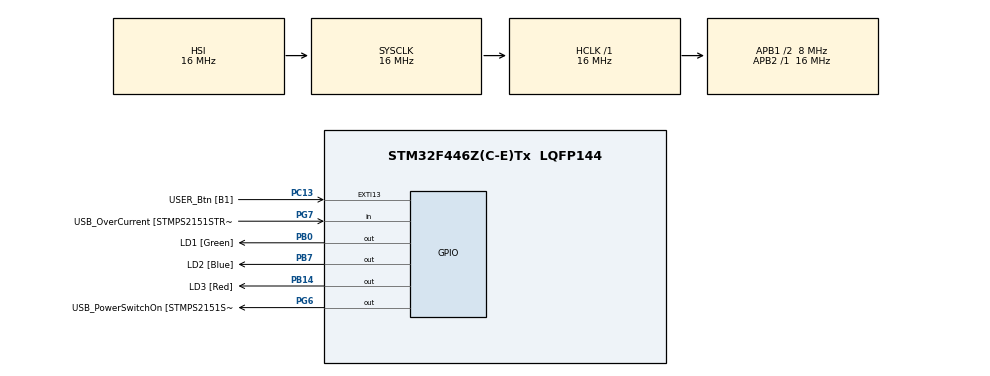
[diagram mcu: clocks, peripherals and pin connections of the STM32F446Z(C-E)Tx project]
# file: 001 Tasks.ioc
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Mcu.Family=STM32F4
Mcu.Name=STM32F446Z(C-E)Tx
Mcu.Package=LQFP144
NVIC.PriorityGroup=NVIC_PRIORITYGROUP_4
NVIC.TIM6_DAC_IRQn=true\:15\:0\:false\:false\:true\:false\:true\:true
NVIC.TimeBase=TIM6_DAC_IRQn
NVIC.TimeBaseIP=TIM6
PA10.GPIO_Label=USB_ID
PA10.Signal=USB_OTG_FS_ID
PA11.GPIO_Label=USB_DM
PA11.Signal=USB_OTG_FS_DM
PA12.GPIO_Label=USB_DP
PA12.Signal=USB_OTG_FS_DP
PA13.GPIO_Label=TMS
PA13.Signal=SYS_JTMS-SWDIO
PA14.GPIO_Label=TCK
PA14.Signal=SYS_JTCK-SWCLK
PA8.GPIO_Label=USB_SOF [TP1]
PA8.Signal=USB_OTG_FS_SOF
PA9.GPIO_Label=USB_VBUS
PA9.Signal=USB_OTG_FS_VBUS
PB0.GPIO_Label=LD1 [Green]
PB0.Signal=GPIO_Output
PB14.GPIO_Label=LD3 [Red]
PB14.Signal=GPIO_Output
PB7.GPIO_Label=LD2 [Blue]
PB7.Signal=GPIO_Output
PC13.GPIO_Label=USER_Btn [B1]
PC13.Signal=GPXTI13
PC14-OSC32_IN.Signal=RCC_OSC32_IN
PC15-OSC32_OUT.Signal=RCC_OSC32_OUT
PD8.GPIO_Label=STLK_RX [STM32F103CBT6_PA3]
PD8.Signal=USART3_TX
PD9.GPIO_Label=STLK_TX [STM32F103CBT6_PA2]
PD9.Signal=USART3_RX
PG6.GPIO_Label=USB_PowerSwitchOn [STMPS2151STR_EN]
PG6.Signal=GPIO_Output
PG7.GPIO_Label=USB_OverCurrent [STMPS2151STR_FAULT]
PG7.Signal=GPIO_Input
PH0-OSC_IN.GPIO_Label=MCO [STM32F103CBT6_PA8]
PH0-OSC_IN.Signal=RCC_OSC_IN
PH1-OSC_OUT.Signal=RCC_OSC_OUT
ProjectManager.HeapSize=0x200
ProjectManager.StackSize=0x400
ProjectManager.TargetToolchain=STM32CubeIDE
RCC.48MHZClocksFreq_Value=24000000
RCC.AHBFreq_Value=16000000
RCC.APB1CLKDivider=RCC_HCLK_DIV2
RCC.APB1Freq_Value=8000000
RCC.APB1TimFreq_Value=16000000
RCC.APB2Freq_Value=16000000
RCC.APB2TimFreq_Value=16000000
RCC.CortexFreq_Value=16000000
RCC.HCLKFreq_Value=16000000
RCC.HSE_VALUE=8000000
RCC.HSI_VALUE=16000000
RCC.LSE_VALUE=32768
RCC.PLLMUL=RCC_PLL_MUL9
RCC.PRESCALERUSB=RCC_USBCLKSOURCE_PLL_DIV1_5
RCC.SYSCLKFreq_VALUE=16000000
RCC.SYSCLKSourceVirtual=RCC_SYSCLKSOURCE_PLLCLK
RCC.USBFreq_Value=96000000
RCC.VCOOutputFreq_Value=192000000
VP_SYS_VS_tim6.Mode=TIM6
board=NUCLEO-F446ZE

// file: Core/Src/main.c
/* USER CODE BEGIN Header */
/**
  ******************************************************************************
  * @file           : main.c
  * @brief          : Main program body
  ******************************************************************************
  * @attention
  *
  * Copyright (c) 2026 STMicroelectronics.
  * All rights reserved.
  *
  * This software is licensed under terms that can be found in the LICENSE file
  * in the root directory of this software component.
  * If no LICENSE file comes with this software, it is provided AS-IS.
  *
  ******************************************************************************
  */
/* USER CODE END Header */
#include "main.h"

/* USER CODE BEGIN Includes */
#include<stdio.h>
#include "FreeRTOS.h"
#include "task.h"
/* USER CODE END Includes */

/* USER CODE BEGIN PV */
#define DWT_CTRL (*(volatile uint32_t*)0xE0001000)
/* USER CODE END PV */

void SystemClock_Config(void);
static void MX_GPIO_Init(void);
/* USER CODE BEGIN PFP */
static void task1_handler(void *parameters);
static void task2_handler(void *parameters);
/* USER CODE END PFP */

int main(void)
{

  /* USER CODE BEGIN 1 */

	TaskHandle_t task1_handle;
	TaskHandle_t task2_handle;
	BaseType_t status;
  /* USER CODE END 1 */

  /* MCU Configuration--------------------------------------------------------*/

  /* Reset of all peripherals, Initializes the Flash interface and the Systick. */
  HAL_Init();

  /* Configure the system clock */
  SystemClock_Config();

  /* Initialize all configured peripherals */
  MX_GPIO_Init();
  /* USER CODE BEGIN 2 */

  DWT_CTRL|=(1U<<0);

  status=xTaskCreate(task1_handler, "Task1", 200, "Hello From Task 1 ", 1, &task1_handle);

  configASSERT(status==pdPASS);

  status=xTaskCreate(task2_handler, "Task2", 200, "Hello From Task 2", 1, &task2_handle);
  configASSERT(status==pdPASS);

  //start the freeRTOS scheduler
  vTaskStartScheduler();

  /* if the control reaches her then, then the launch of the schedular has failed du to
   * insufficient memory in the heap
   */

  /* USER CODE END 2 */

  /* Infinite loop */
  while (1)
  {

  }
}

void SystemClock_Config(void)
{
  RCC_OscInitTypeDef RCC_OscInitStruct = {0};
  RCC_ClkInitTypeDef RCC_ClkInitStruct = {0};

  /** Configure the main internal regulator output voltage
  */
  __HAL_RCC_PWR_CLK_ENABLE();
  __HAL_PWR_VOLTAGESCALING_CONFIG(PWR_REGULATOR_VOLTAGE_SCALE3);

  /** Initializes the RCC Oscillators according to the specified parameters
  * in the RCC_OscInitTypeDef structure.
  */
  RCC_OscInitStruct.OscillatorType = RCC_OSCILLATORTYPE_HSI;
  RCC_OscInitStruct.HSIState = RCC_HSI_ON;
  RCC_OscInitStruct.HSICalibrationValue = RCC_HSICALIBRATION_DEFAULT;
  RCC_OscInitStruct.PLL.PLLState = RCC_PLL_NONE;
  if (HAL_RCC_OscConfig(&RCC_OscInitStruct) != HAL_OK)
  {
    Error_Handler();
  }

  /** Initializes the CPU, AHB and APB buses clocks
  */
  RCC_ClkInitStruct.ClockType = RCC_CLOCKTYPE_HCLK|RCC_CLOCKTYPE_SYSCLK
                              |RCC_CLOCKTYPE_PCLK1|RCC_CLOCKTYPE_PCLK2;
  RCC_ClkInitStruct.SYSCLKSource = RCC_SYSCLKSOURCE_HSI;
  RCC_ClkInitStruct.AHBCLKDivider = RCC_SYSCLK_DIV1;
  RCC_ClkInitStruct.APB1CLKDivider = RCC_HCLK_DIV2;
  RCC_ClkInitStruct.APB2CLKDivider = RCC_HCLK_DIV1;

  if (HAL_RCC_ClockConfig(&RCC_ClkInitStruct, FLASH_LATENCY_0) != HAL_OK)
  {
    Error_Handler();
  }
}

static void MX_GPIO_Init(void)
{
  GPIO_InitTypeDef GPIO_InitStruct = {0};

  /* GPIO Ports Clock Enable */
  __HAL_RCC_GPIOC_CLK_ENABLE();
  __HAL_RCC_GPIOH_CLK_ENABLE();
  __HAL_RCC_GPIOB_CLK_ENABLE();
  __HAL_RCC_GPIOD_CLK_ENABLE();
  __HAL_RCC_GPIOG_CLK_ENABLE();
  __HAL_RCC_GPIOA_CLK_ENABLE();

  /*Configure GPIO pin Output Level */
  HAL_GPIO_WritePin(GPIOB, LD1_Pin|LD3_Pin|LD2_Pin, GPIO_PIN_RESET);

  /*Configure GPIO pin Output Level */
  HAL_GPIO_WritePin(USB_PowerSwitchOn_GPIO_Port, USB_PowerSwitchOn_Pin, GPIO_PIN_RESET);

  /*Configure GPIO pin : USER_Btn_Pin */
  GPIO_InitStruct.Pin = USER_Btn_Pin;
  GPIO_InitStruct.Mode = GPIO_MODE_IT_RISING;
  GPIO_InitStruct.Pull = GPIO_NOPULL;
  HAL_GPIO_Init(USER_Btn_GPIO_Port, &GPIO_InitStruct);

  /*Configure GPIO pins : LD1_Pin LD3_Pin LD2_Pin */
  GPIO_InitStruct.Pin = LD1_Pin|LD3_Pin|LD2_Pin;
  GPIO_InitStruct.Mode = GPIO_MODE_OUTPUT_PP;
  GPIO_InitStruct.Pull = GPIO_NOPULL;
  GPIO_InitStruct.Speed = GPIO_SPEED_FREQ_LOW;
  HAL_GPIO_Init(GPIOB, &GPIO_InitStruct);

  /*Configure GPIO pins : STLK_RX_Pin STLK_TX_Pin */
  GPIO_InitStruct.Pin = STLK_RX_Pin|STLK_TX_Pin;
  GPIO_InitStruct.Mode = GPIO_MODE_AF_PP;
  GPIO_InitStruct.Pull = GPIO_NOPULL;
  GPIO_InitStruct.Speed = GPIO_SPEED_FREQ_VERY_HIGH;
  GPIO_InitStruct.Alternate = GPIO_AF7_USART3;
  HAL_GPIO_Init(GPIOD, &GPIO_InitStruct);

  /*Configure GPIO pin : USB_PowerSwitchOn_Pin */
  GPIO_InitStruct.Pin = USB_PowerSwitchOn_Pin;
  GPIO_InitStruct.Mode = GPIO_MODE_OUTPUT_PP;
  GPIO_InitStruct.Pull = GPIO_NOPULL;
  GPIO_InitStruct.Speed = GPIO_SPEED_FREQ_LOW;
  HAL_GPIO_Init(USB_PowerSwitchOn_GPIO_Port, &GPIO_InitStruct);

  /*Configure GPIO pin : USB_OverCurrent_Pin */
  GPIO_InitStruct.Pin = USB_OverCurrent_Pin;
  GPIO_InitStruct.Mode = GPIO_MODE_INPUT;
  GPIO_InitStruct.Pull = GPIO_NOPULL;
  HAL_GPIO_Init(USB_OverCurrent_GPIO_Port, &GPIO_InitStruct);

  /*Configure GPIO pins : USB_SOF_Pin USB_ID_Pin USB_DM_Pin USB_DP_Pin */
  GPIO_InitStruct.Pin = USB_SOF_Pin|USB_ID_Pin|USB_DM_Pin|USB_DP_Pin;
  GPIO_InitStruct.Mode = GPIO_MODE_AF_PP;
  GPIO_InitStruct.Pull = GPIO_NOPULL;
  GPIO_InitStruct.Speed = GPIO_SPEED_FREQ_VERY_HIGH;
  GPIO_InitStruct.Alternate = GPIO_AF10_OTG_FS;
  HAL_GPIO_Init(GPIOA, &GPIO_InitStruct);

  /*Configure GPIO pin : USB_VBUS_Pin */
  GPIO_InitStruct.Pin = USB_VBUS_Pin;
  GPIO_InitStruct.Mode = GPIO_MODE_INPUT;
  GPIO_InitStruct.Pull = GPIO_NOPULL;
  HAL_GPIO_Init(USB_VBUS_GPIO_Port, &GPIO_InitStruct);

}

/* USER CODE BEGIN 4 */
static void task1_handler(void *parameters)
{
	while(1)
	{
		printf("%s \n",(char*)parameters);
		taskYIELD();

	}
}
static void task2_handler(void *parameters)
{
	while(1)
	{
		printf("%s \n",(char*)parameters);
		taskYIELD();

	}
}

/* USER CODE END 4 */

void HAL_TIM_PeriodElapsedCallback(TIM_HandleTypeDef *htim)
{
  if (htim->Instance == TIM6)
  {
    HAL_IncTick();
  }
}

void Error_Handler(void)
{
  __disable_irq();
  while (1)
  {
  }
}
